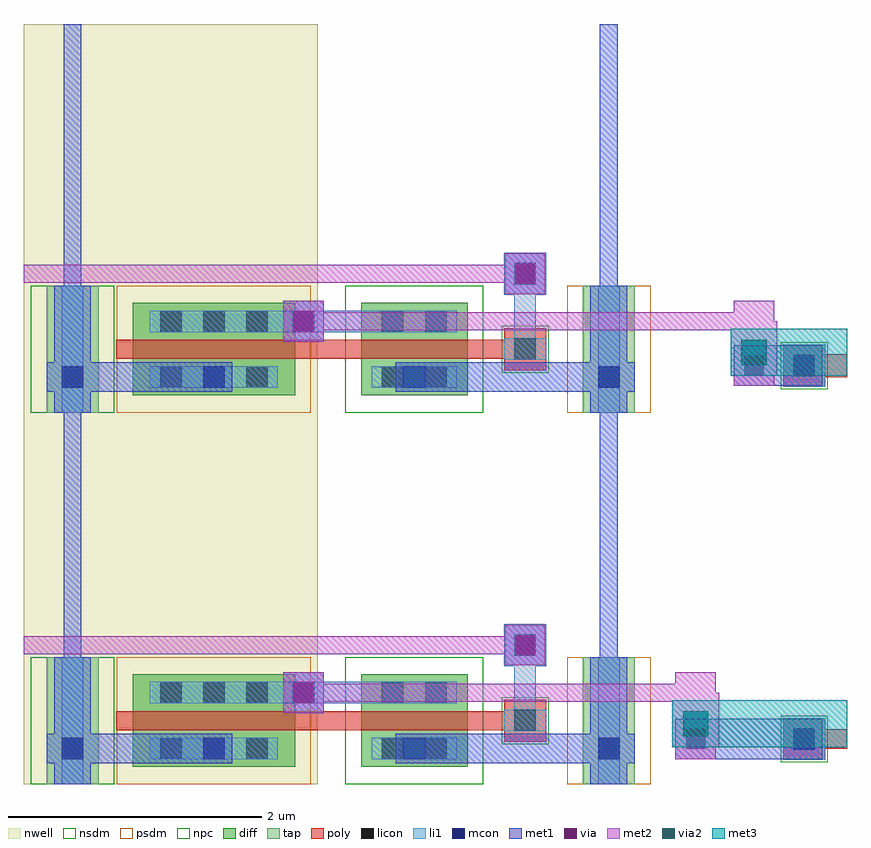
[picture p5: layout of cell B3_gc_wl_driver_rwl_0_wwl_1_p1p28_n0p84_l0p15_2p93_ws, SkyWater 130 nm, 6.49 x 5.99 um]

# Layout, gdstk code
import gdstk
lib = gdstk.Library(unit=1e-6, precision=1e-09)
def R(c, l, rs):  # rectangles x0, y0, x1, y1
    for r in rs: c.add(gdstk.rectangle(r[:2], r[2:], *l))
def A(c, l, x, y, w, h, nx, ny, dx, dy):  # array of equal rectangles
    R(c, l, [(x+i*dx, y+j*dy, x+i*dx+w, y+j*dy+h) for i in range(nx) for j in range(ny)])
nwell = (64, 20)
diff = (65, 20)
tap = (65, 44)
poly = (66, 20)
licon = (66, 44)
li1 = (67, 20)
mcon = (67, 44)
met1 = (68, 20)
via = (68, 44)
met2 = (69, 20)
via2 = (69, 44)
met3 = (70, 20)
nsdm = (93, 44)
psdm = (94, 20)
npc = (95, 20)

b3_gc_inv_p1p28_n0p84_l0 = lib.new_cell('B3_gc_inv_p1p28_n0p84_l0p15')
R(b3_gc_inv_p1p28_n0p84_l0, nwell, [(0,-0.135,2.32,0.865)])
R(b3_gc_inv_p1p28_n0p84_l0, diff, [(0.86,0,2.14,0.73), (2.66,0,3.5,0.73)])
R(b3_gc_inv_p1p28_n0p84_l0, tap, [(0.18,-0.135,0.59,0.865), (4.41,-0.135,4.82,0.865)])
R(b3_gc_inv_p1p28_n0p84_l0, poly, [(3.79,0.2,4.12,0.53), (0.73,0.29,3.63,0.44), (0.73,0.29,2.27,0.44), (2.53,0.29,3.63,0.44), (3.63,0.29,3.795,0.44)])
A(b3_gc_inv_p1p28_n0p84_l0, licon, 1.075, 0.06, 0.17, 0.17, 3, 2, 0.34, 0.44)
R(b3_gc_inv_p1p28_n0p84_l0, licon, [(0.3,0.06,0.47,0.23), (2.825,0.06,2.995,0.23), (3.165,0.06,3.335,0.23), (4.53,0.06,4.7,0.23), (3.87,0.28,4.04,0.45), (2.825,0.5,2.995,0.67), (3.165,0.5,3.335,0.67)])
R(b3_gc_inv_p1p28_n0p84_l0, li1, [(0.3,-0.135,0.47,0.865), (4.53,-0.135,4.7,0.865), (0.995,0.06,2.005,0.23), (2.745,0.06,3.415,0.23), (3.79,0.28,4.12,0.45), (0.995,0.5,3.415,0.67), (0.995,0.5,2.005,0.67), (2.745,0.5,3.415,0.67)])
R(b3_gc_inv_p1p28_n0p84_l0, mcon, [(0.3,0.06,0.47,0.23), (1.415,0.06,1.585,0.23), (2.995,0.06,3.165,0.23), (4.53,0.06,4.7,0.23)])
R(b3_gc_inv_p1p28_n0p84_l0, met1, [(0.24,-0.135,0.53,0.865), (4.47,-0.135,4.76,0.865), (0.24,0,0.53,0.29), (4.47,0,4.76,0.29), (0.18,0.03,1.645,0.26), (1.355,0.03,1.645,0.26), (2.935,0.03,4.82,0.26), (2.935,0.03,3.225,0.26)])
R(b3_gc_inv_p1p28_n0p84_l0, nsdm, [(0.055,-0.135,0.715,0.865), (2.535,-0.135,3.625,0.865)])
R(b3_gc_inv_p1p28_n0p84_l0, psdm, [(0.735,-0.135,2.265,0.865), (4.285,-0.135,4.945,0.865)])
R(b3_gc_inv_p1p28_n0p84_l0, npc, [(3.77,0.18,4.14,0.55)])
b3_gc_inv_p1p28_n0p84_l0.add(gdstk.Label('vss', (4.615,0.145), layer=68, texttype=5))
b3_gc_inv_p1p28_n0p84_l0.add(gdstk.Label('vdd', (0.385,0.145), layer=68, texttype=5))
b3_gc_inv_p1p28_n0p84_l0.add(gdstk.Label('y', (2.205,0.585), layer=67, texttype=5))
b3_gc_inv_p1p28_n0p84_l0.add(gdstk.Label('a', (3.955,0.365), layer=67, texttype=5))

b3_gc_wl_driver_rwl_0_ww = lib.new_cell('B3_gc_wl_driver_rwl_0_wwl_1_p1p28_n0p84_l0p15_2p93_ws')
R(b3_gc_wl_driver_rwl_0_ww, nwell, [(0,0,2.32,5.86)])
R(b3_gc_wl_driver_rwl_0_ww, poly, [(5.99,0.055,6.32,0.385), (6.315,0.145,6.495,0.295), (5.99,3,6.32,3.33), (6.315,3.075,6.495,3.255)])
R(b3_gc_wl_driver_rwl_0_ww, licon, [(6.07,0.135,6.24,0.305), (6.07,3.08,6.24,3.25)])
R(b3_gc_wl_driver_rwl_0_ww, li1, [(5.99,0.055,6.32,0.385), (3.87,0.365,4.04,0.96), (3.79,0.795,4.12,1.125), (5.99,3,6.32,3.33), (3.87,3.295,4.04,3.89), (3.79,3.725,4.12,4.055)])
R(b3_gc_wl_driver_rwl_0_ww, mcon, [(6.07,0.135,6.24,0.305), (2.12,0.5,2.29,0.67), (3.87,0.875,4.04,1.045), (6.07,3.08,6.24,3.25), (2.12,3.43,2.29,3.6), (3.87,3.805,4.04,3.975)])
R(b3_gc_wl_driver_rwl_0_ww, met1, [(0.315,0,0.455,5.86), (4.545,0,4.685,5.86), (5.14,0.06,6.3,0.38), (5.14,0.06,5.46,0.38), (6.01,0.075,6.3,0.365), (2.045,0.425,2.365,0.745), (3.795,0.8,4.115,1.12), (5.6,3.005,6.3,3.325), (5.6,3.005,5.92,3.325), (6.01,3.02,6.3,3.31), (2.045,3.355,2.365,3.675), (3.795,3.73,4.115,4.05)])
R(b3_gc_wl_driver_rwl_0_ww, via, [(5.225,0.145,5.375,0.295), (2.13,0.51,2.28,0.66), (3.88,0.885,4.03,1.035), (5.685,3.09,5.835,3.24), (2.13,3.44,2.28,3.59), (3.88,3.815,4.03,3.965)])
R(b3_gc_wl_driver_rwl_0_ww, met2, [(5.14,0.06,5.46,0.745), (5.14,0.06,5.46,0.38), (5.115,0.155,5.485,0.525), (5.115,0.22,5.485,0.34), (5.115,0.34,5.485,0.585), (2.045,0.425,2.365,0.745), (2.205,0.515,5.46,0.655), (3.795,0.8,4.115,1.12), (0,0.89,4.025,1.03), (5.6,3.005,5.92,3.675), (5.6,3.005,5.92,3.325), (5.575,3.085,5.945,3.455), (5.575,3.165,5.945,3.27), (5.575,3.27,5.945,3.515), (2.045,3.355,2.365,3.675), (2.205,3.445,5.92,3.585), (3.795,3.73,4.115,4.05), (0,3.82,4.025,3.96)])
R(b3_gc_wl_driver_rwl_0_ww, via2, [(5.2,0.24,5.4,0.44), (5.66,3.17,5.86,3.37)])
R(b3_gc_wl_driver_rwl_0_ww, met3, [(5.115,0.155,6.495,0.525), (5.115,0.155,5.485,0.525), (5.575,3.085,6.495,3.455), (5.575,3.085,5.945,3.455)])
R(b3_gc_wl_driver_rwl_0_ww, npc, [(5.97,0.035,6.34,0.405), (5.97,2.98,6.34,3.35)])
b3_gc_wl_driver_rwl_0_ww.add(gdstk.Reference(b3_gc_inv_p1p28_n0p84_l0, (0,0)))
b3_gc_wl_driver_rwl_0_ww.add(gdstk.Reference(b3_gc_inv_p1p28_n0p84_l0, (0,2.93)))

lib.write_gds('B3_gc_wl_driver_rwl_0_wwl_1_p1p28_n0p84_l0p15_2p93_ws.gds')
